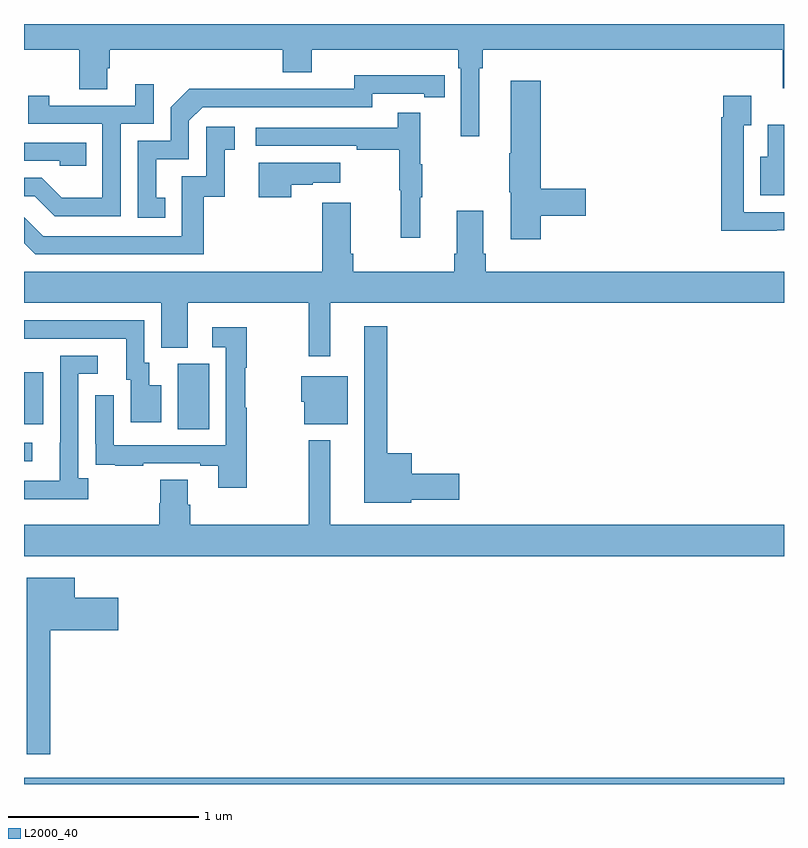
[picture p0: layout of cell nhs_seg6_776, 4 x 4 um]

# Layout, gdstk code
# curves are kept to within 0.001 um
import gdstk
lib = gdstk.Library(unit=1e-6, precision=1e-09)
def R(c, l, rs):  # rectangles x0, y0, x1, y1
    for r in rs: c.add(gdstk.rectangle(r[:2], r[2:], *l))
def P(c, l, *ps):  # polygons
    for p in ps: c.add(gdstk.Polygon(p, *l))
L2000_40 = (2000, 40)

nhs_seg6_776 = lib.new_cell('nhs_seg6_776')
R(nhs_seg6_776, L2000_40, [(161,915.5,165,915.532), (161,917.199,161.044,917.295), (161.81,917.368,161.974,917.712), (161,917.393,161.101,917.668)])
P(nhs_seg6_776, L2000_40, [(163.396,919.268),(163.415,919.268),(163.415,919.364),(164.993,919.364),(164.993,919.162),(165,919.162),(165,919.5),(161,919.5),(161,919.364),(161.29,919.364),(161.29,919.156),(161.437,919.156),(161.437,919.266),(161.45,919.266),(161.45,919.364),(162.362,919.364),(162.362,919.247),(162.514,919.247),(162.514,919.364),(163.286,919.364),(163.286,919.268),(163.299,919.268),(163.299,918.909),(163.396,918.909)],
  [(161.744,918.585),(161.695,918.585),(161.695,918.789),(161.868,918.789),(161.868,918.99),(161.94,919.062),(162.834,919.062),(162.834,919.134),(163.106,919.134),(163.106,919.114),(163.214,919.114),(163.214,919.23),(162.738,919.231),(162.738,919.158),(162.278,919.158),(162.278,919.16),(161.87,919.16),(161.772,919.062),(161.772,918.885),(161.598,918.885),(161.598,918.48),(161.744,918.48)],
  [(163.721,918.49),(163.957,918.49),(163.957,918.632),(163.721,918.632),(163.721,919.201),(163.562,919.201),(163.562,918.821),(163.555,918.821),(163.555,918.615),(163.562,918.615),(163.562,918.366),(163.721,918.366)],
  [(161.508,918.975),(161.682,918.975),(161.682,919.183),(161.585,919.183),(161.585,919.071),(161.134,919.071),(161.134,919.123),(161.023,919.123),(161.023,918.975),(161.412,918.975),(161.412,918.586),(161.198,918.586),(161.094,918.69),(161,918.69),(161,918.594),(161.057,918.594),(161.162,918.489),(161.508,918.489)],
  [(164.963,918.414),(165,918.414),(165,918.51),(164.787,918.51),(164.787,918.967),(164.827,918.967),(164.827,919.123),(164.679,919.123),(164.679,919.01),(164.671,919.01),(164.671,918.413),(164.963,918.413)],
  [(163.085,918.587),(163.096,918.587),(163.096,918.761),(163.085,918.761),(163.085,919.033),(162.967,919.033),(162.967,918.954),(162.219,918.954),(162.219,918.858),(162.751,918.858),(162.751,918.838),(162.975,918.838),(162.975,918.624),(162.982,918.624),(162.982,918.375),(163.085,918.375)],
  [(165,918.97),(164.915,918.97),(164.915,918.802),(164.876,918.802),(164.876,918.599),(165,918.599)],
  [(161.945,918.591),(162.056,918.591),(162.056,918.837),(162.109,918.837),(162.109,918.958),(161.958,918.958),(161.958,918.699),(161.829,918.699),(161.829,918.384),(161.1,918.384),(161,918.484),(161,918.346),(161.058,918.288),(161.945,918.288)],
  [(161.327,918.876),(161,918.876),(161,918.78),(161.187,918.78),(161.187,918.753),(161.327,918.753)],
  [(162.407,918.655),(162.521,918.655),(162.521,918.665),(162.664,918.665),(162.664,918.769),(162.236,918.769),(162.236,918.588),(162.407,918.588)],
  [(165,918.196),(163.43,918.196),(163.43,918.292),(163.417,918.292),(163.417,918.517),(163.277,918.517),(163.277,918.292),(163.265,918.292),(163.265,918.196),(162.734,918.196),(162.734,918.292),(162.721,918.292),(162.721,918.559),(162.569,918.559),(162.569,918.196),(161,918.196),(161,918.032),(161.723,918.032),(161.723,917.797),(161.863,917.797),(161.863,918.032),(162.499,918.032),(162.499,917.751),(162.613,917.751),(162.613,918.032),(165,918.032)],
  [(161.722,917.599),(161.659,917.599),(161.659,917.718),(161.634,917.718),(161.634,917.94),(161,917.94),(161,917.844),(161.537,917.844),(161.537,917.628),(161.561,917.628),(161.561,917.403),(161.722,917.403)],
  [(163.038,916.997),(163.291,916.997),(163.291,917.132),(163.042,917.132),(163.042,917.242),(162.913,917.242),(162.913,917.908),(162.791,917.908),(162.791,916.979),(163.038,916.979)],
  [(162.172,917.481),(162.164,917.481),(162.164,917.692),(162.172,917.692),(162.172,917.905),(161.991,917.905),(161.991,917.799),(162.063,917.799),(162.063,917.283),(161.472,917.283),(161.472,917.545),(161.376,917.545),(161.376,917.29),(161.377,917.29),(161.377,917.181),(161.479,917.181),(161.479,917.175),(161.627,917.175),(161.627,917.187),(161.927,917.187),(161.927,917.175),(162.023,917.175),(162.023,917.058),(162.172,917.058)],
  [(161.338,917.11),(161.286,917.11),(161.286,917.658),(161.389,917.658),(161.389,917.754),(161.19,917.754),(161.19,917.297),(161.189,917.297),(161.189,917.097),(161,917.097),(161,917),(161.338,917)],
  [(162.703,917.647),(162.458,917.647),(162.458,917.511),(162.476,917.511),(162.476,917.393),(162.703,917.393)],
  [(161.716,917.102),(161.716,916.977),(161.711,916.977),(161.711,916.864),(161,916.864),(161,916.7),(165,916.7),(165,916.864),(162.613,916.864),(162.613,917.308),(162.499,917.308),(162.499,916.864),(161.876,916.864),(161.876,916.97),(161.863,916.97),(161.863,917.102)],
  [(161.137,916.31),(161.497,916.31),(161.497,916.48),(161.266,916.48),(161.266,916.585),(161.015,916.585),(161.015,915.657),(161.137,915.657)])

lib.write_gds('nhs_seg6_776.gds')
